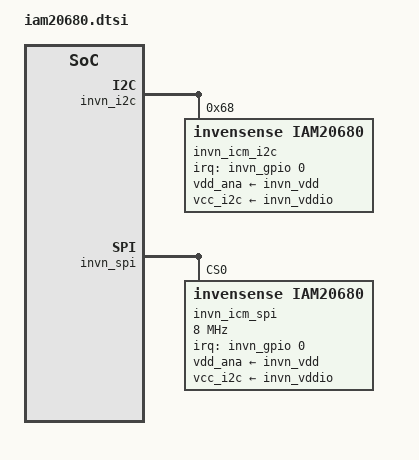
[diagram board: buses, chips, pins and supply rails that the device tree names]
&invn_i2c {
	#address-cells = <1>;
	#size-cells = <0>;

	invn_icm_i2c: iam20680@68 {
		compatible = "invensense,iam20680";
		reg = <0x68>;
		interrupt-parent = <&invn_gpio>;
		interrupts = <0 IRQ_TYPE_EDGE_RISING>;
		inven,vdd_ana-supply = <&invn_vdd>;
		inven,vcc_i2c-supply = <&invn_vddio>;
		axis_map_x = <1>;
		axis_map_y = <0>;
		axis_map_z = <2>;
		negate_x = <1>;
		negate_y = <0>;
		negate_z = <0>;
		inven,secondary_type = "none";
		inven,aux_type = "none";
		inven,read_only_slave_type = "none";
	};
};

&invn_spi {
	#address-cells = <1>;
	#size-cells = <0>;

	invn_icm_spi: iam20680@0 {
		compatible = "invensense,iam20680";
		reg = <0>;
		spi-max-frequency = <8000000>;
		spi-cpol;
		spi-cpha;
		interrupt-parent = <&invn_gpio>;
		interrupts = <0 IRQ_TYPE_EDGE_RISING>;
		inven,vdd_ana-supply = <&invn_vdd>;
		inven,vcc_i2c-supply = <&invn_vddio>;
		axis_map_x = <1>;
		axis_map_y = <0>;
		axis_map_z = <2>;
		negate_x = <1>;
		negate_y = <0>;
		negate_z = <0>;
		inven,secondary_type = "none";
		inven,aux_type = "none";
		inven,read_only_slave_type = "none";
	};
};
